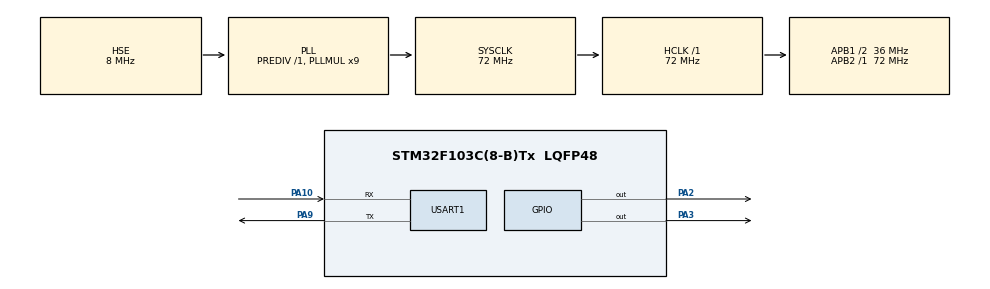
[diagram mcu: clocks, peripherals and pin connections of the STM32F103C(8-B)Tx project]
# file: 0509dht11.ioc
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Mcu.Family=STM32F1
Mcu.Name=STM32F103C(8-B)Tx
Mcu.Package=LQFP48
NVIC.PriorityGroup=NVIC_PRIORITYGROUP_4
PA10.Mode=Asynchronous
PA10.Signal=USART1_RX
PA13.Mode=Serial_Wire
PA13.Signal=SYS_JTMS-SWDIO
PA14.Mode=Serial_Wire
PA14.Signal=SYS_JTCK-SWCLK
PA2.GPIO_Speed=GPIO_SPEED_FREQ_HIGH
PA2.PinState=GPIO_PIN_SET
PA2.Signal=GPIO_Output
PA3.GPIO_Speed=GPIO_SPEED_FREQ_HIGH
PA3.PinState=GPIO_PIN_SET
PA3.Signal=GPIO_Output
PA9.Mode=Asynchronous
PA9.Signal=USART1_TX
PD0-OSC_IN.Mode=HSE-External-Oscillator
PD0-OSC_IN.Signal=RCC_OSC_IN
PD1-OSC_OUT.Mode=HSE-External-Oscillator
PD1-OSC_OUT.Signal=RCC_OSC_OUT
ProjectManager.HeapSize=0x200
ProjectManager.StackSize=0x400
ProjectManager.TargetToolchain=MDK-ARM V5
RCC.AHBFreq_Value=72000000
RCC.APB1CLKDivider=RCC_HCLK_DIV2
RCC.APB1Freq_Value=36000000
RCC.APB1TimFreq_Value=72000000
RCC.APB2Freq_Value=72000000
RCC.APB2TimFreq_Value=72000000
RCC.HCLKFreq_Value=72000000
RCC.PLLMUL=RCC_PLL_MUL9
RCC.PLLSourceVirtual=RCC_PLLSOURCE_HSE
RCC.SYSCLKFreq_VALUE=72000000
RCC.SYSCLKSource=RCC_SYSCLKSOURCE_PLLCLK
RCC.TimSys_Div=SYSTICK_CLKSOURCE_HCLK_DIV8
RCC.USBFreq_Value=72000000
TIM1.Period=65535
TIM1.Prescaler=72-1
USART1.VirtualMode=VM_ASYNC
VP_TIM1_VS_ClockSourceINT.Mode=Internal
board=custom

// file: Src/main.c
/* USER CODE BEGIN Header */
/**
  ******************************************************************************
  * @file           : main.c
  * @brief          : Main program body
  ******************************************************************************
  * @attention
  *
  * <h2><center>&copy; Copyright (c) 2021 STMicroelectronics.
  * All rights reserved.</center></h2>
  *
  * This software component is licensed by ST under BSD 3-Clause license,
  * the "License"; You may not use this file except in compliance with the
  * License. You may obtain a copy of the License at:
  *                        opensource.org/licenses/BSD-3-Clause
  *
  ******************************************************************************
  */
/* USER CODE END Header */
#include "main.h"
#include "tim.h"
#include "usart.h"
#include "gpio.h"
#include "stdio.h"
#include "DHT11.h"

void SystemClock_Config(void);

/* USER CODE BEGIN 0 */
 uint8_t data[1]={0};

/* USER CODE END 0 */

int main(void)
{
  /* USER CODE BEGIN 1 */
  uint16_t temperature;
  uint16_t humidity;
  /* USER CODE END 1 */

  /* MCU Configuration--------------------------------------------------------*/

  /* Reset of all peripherals, Initializes the Flash interface and the Systick. */
  HAL_Init();

  /* Configure the system clock */
  SystemClock_Config();

  /* Initialize all configured peripherals */
  MX_GPIO_Init();
  MX_TIM1_Init();
  MX_USART1_UART_Init();
  /* USER CODE BEGIN 2 */
	printf("TEST!!!\r\n");
	while(DHT11_Init()){
    printf("DHT11 Checked failed!!!\r\n");
    HAL_Delay(500);
  }
  printf("DHT11 Checked Sucess!!!\r\n");
  /* USER CODE END 2 */

  /* Infinite loop */
  /* USER CODE BEGIN WHILE */
  while (1)
  {
		DHT11_Read_Data(&temperature,&humidity);
    printf("Temperature = %d.%d\r\n",temperature>>8,temperature&0xff);
	printf("Humidity = %d.%d%%\r\n",humidity>>8,humidity&0xff);
HAL_Delay(1000);
  //  HAL_GPIO_TogglePin(GPIOC,GPIO_PIN_0);
HAL_UART_Receive(&huart1, data, sizeof(data), 100);
if (data[0] == 'A')
{
HAL_GPIO_WritePin(GPIOA, GPIO_PIN_2, 0);
HAL_Delay(500);
}
else if (data[0] == 'B')
{
HAL_GPIO_WritePin(GPIOA, GPIO_PIN_2, 1);
HAL_Delay(500);
}
else {}

    /* USER CODE END WHILE */

  }
}

void SystemClock_Config(void)
{
  RCC_OscInitTypeDef RCC_OscInitStruct = {0};
  RCC_ClkInitTypeDef RCC_ClkInitStruct = {0};

  /** Initializes the RCC Oscillators according to the specified parameters
  * in the RCC_OscInitTypeDef structure.
  */
  RCC_OscInitStruct.OscillatorType = RCC_OSCILLATORTYPE_HSE;
  RCC_OscInitStruct.HSEState = RCC_HSE_ON;
  RCC_OscInitStruct.HSEPredivValue = RCC_HSE_PREDIV_DIV1;
  RCC_OscInitStruct.HSIState = RCC_HSI_ON;
  RCC_OscInitStruct.PLL.PLLState = RCC_PLL_ON;
  RCC_OscInitStruct.PLL.PLLSource = RCC_PLLSOURCE_HSE;
  RCC_OscInitStruct.PLL.PLLMUL = RCC_PLL_MUL9;
  if (HAL_RCC_OscConfig(&RCC_OscInitStruct) != HAL_OK)
  {
    Error_Handler();
  }

  /** Initializes the CPU, AHB and APB buses clocks
  */
  RCC_ClkInitStruct.ClockType = RCC_CLOCKTYPE_HCLK|RCC_CLOCKTYPE_SYSCLK
                              |RCC_CLOCKTYPE_PCLK1|RCC_CLOCKTYPE_PCLK2;
  RCC_ClkInitStruct.SYSCLKSource = RCC_SYSCLKSOURCE_PLLCLK;
  RCC_ClkInitStruct.AHBCLKDivider = RCC_SYSCLK_DIV1;
  RCC_ClkInitStruct.APB1CLKDivider = RCC_HCLK_DIV2;
  RCC_ClkInitStruct.APB2CLKDivider = RCC_HCLK_DIV1;

  if (HAL_RCC_ClockConfig(&RCC_ClkInitStruct, FLASH_LATENCY_2) != HAL_OK)
  {
    Error_Handler();
  }
}

void Error_Handler(void)
{
}
